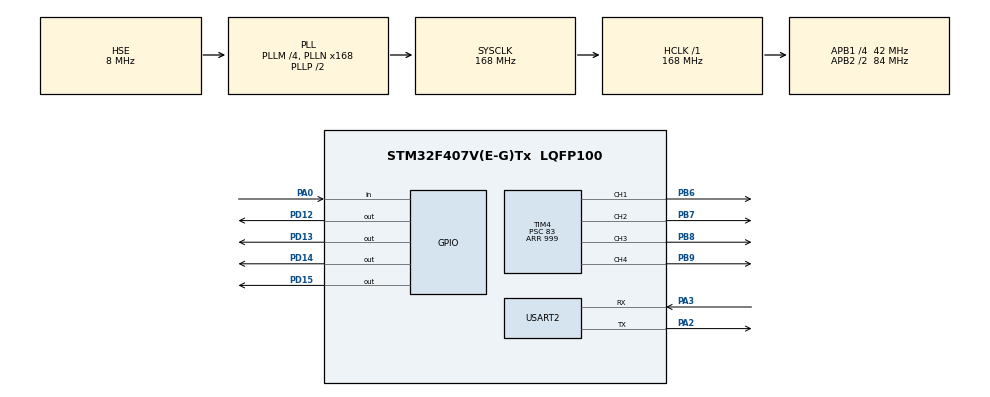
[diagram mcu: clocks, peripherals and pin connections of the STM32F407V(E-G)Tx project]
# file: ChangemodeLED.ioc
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Mcu.Family=STM32F4
Mcu.Name=STM32F407V(E-G)Tx
Mcu.Package=LQFP100
NVIC.PriorityGroup=NVIC_PRIORITYGROUP_4
NVIC.TIM6_DAC_IRQn=true\:0\:0\:false\:false\:true\:true\:true\:true
NVIC.USART2_IRQn=true\:0\:0\:false\:false\:true\:true\:true\:true
PA0-WKUP.Signal=GPIO_Input
PA13.Mode=Serial_Wire
PA13.Signal=SYS_JTMS-SWDIO
PA14.Mode=Serial_Wire
PA14.Signal=SYS_JTCK-SWCLK
PA2.Mode=Asynchronous
PA2.Signal=USART2_TX
PA3.Mode=Asynchronous
PA3.Signal=USART2_RX
PB6.Signal=S_TIM4_CH1
PB7.Signal=S_TIM4_CH2
PB8.Signal=S_TIM4_CH3
PB9.Signal=S_TIM4_CH4
PD12.Signal=GPIO_Output
PD13.Signal=GPIO_Output
PD14.Signal=GPIO_Output
PD15.Signal=GPIO_Output
PH0-OSC_IN.Mode=HSE-External-Oscillator
PH0-OSC_IN.Signal=RCC_OSC_IN
PH1-OSC_OUT.Mode=HSE-External-Oscillator
PH1-OSC_OUT.Signal=RCC_OSC_OUT
ProjectManager.HeapSize=0x200
ProjectManager.StackSize=0x400
ProjectManager.TargetToolchain=MDK-ARM V5.32
RCC.48MHZClocksFreq_Value=84000000
RCC.AHBFreq_Value=168000000
RCC.APB1CLKDivider=RCC_HCLK_DIV4
RCC.APB1Freq_Value=42000000
RCC.APB1TimFreq_Value=84000000
RCC.APB2CLKDivider=RCC_HCLK_DIV2
RCC.APB2Freq_Value=84000000
RCC.APB2TimFreq_Value=168000000
RCC.CortexFreq_Value=168000000
RCC.HCLKFreq_Value=168000000
RCC.HSE_VALUE=8000000
RCC.HSI_VALUE=16000000
RCC.LSE_VALUE=32768
RCC.PLLM=4
RCC.PLLN=168
RCC.PLLSourceVirtual=RCC_PLLSOURCE_HSE
RCC.SYSCLKFreq_VALUE=168000000
RCC.SYSCLKSource=RCC_SYSCLKSOURCE_PLLCLK
RCC.VCOOutputFreq_Value=336000000
SH.S_TIM4_CH1.0=TIM4_CH1,PWM Generation1 CH1
SH.S_TIM4_CH2.0=TIM4_CH2,PWM Generation2 CH2
SH.S_TIM4_CH3.0=TIM4_CH3,PWM Generation3 CH3
SH.S_TIM4_CH4.0=TIM4_CH4,PWM Generation4 CH4
TIM4.Channel-PWM\ Generation1\ CH1=TIM_CHANNEL_1
TIM4.Channel-PWM\ Generation2\ CH2=TIM_CHANNEL_2
TIM4.Channel-PWM\ Generation3\ CH3=TIM_CHANNEL_3
TIM4.Channel-PWM\ Generation4\ CH4=TIM_CHANNEL_4
TIM4.Period=999
TIM4.Prescaler=83
TIM6.Period=7500
TIM6.Prescaler=8399
USART2.VirtualMode=VM_ASYNC
VP_TIM6_VS_ClockSourceINT.Mode=Enable_Timer
board=custom

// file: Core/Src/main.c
/* USER CODE BEGIN Header */
/**
  ******************************************************************************
  * @file           : main.c
  * @brief          : Main program body
  ******************************************************************************
  * @attention
  *
  * Copyright (c) 2026 STMicroelectronics.
  * All rights reserved.
  *
  * This software is licensed under terms that can be found in the LICENSE file
  * in the root directory of this software component.
  * If no LICENSE file comes with this software, it is provided AS-IS.
  *
  ******************************************************************************
  */
/* USER CODE END Header */
#include "main.h"

TIM_HandleTypeDef htim4;
TIM_HandleTypeDef htim6;

UART_HandleTypeDef huart2;

/* USER CODE BEGIN PV */
typedef enum {
	mode_pwm,
	mode_timer_blink
} LedMode;

volatile LedMode current_mode = mode_pwm;
uint32_t pwm_val = 0;
int8_t pwm_dir = 1;
uint8_t rx_byte = 0;

/* USER CODE END PV */

void SystemClock_Config(void);
static void MX_GPIO_Init(void);
static void MX_TIM4_Init(void);
static void MX_TIM6_Init(void);
static void MX_USART2_UART_Init(void);

/* USER CODE BEGIN 0 */
void Set_LED_Mode_PWM(void)
{
	  GPIO_InitTypeDef GPIO_InitStruct = {0};
    GPIO_InitStruct.Pin = GPIO_PIN_12|GPIO_PIN_13|GPIO_PIN_14|GPIO_PIN_15;
    GPIO_InitStruct.Mode = GPIO_MODE_AF_PP;
    GPIO_InitStruct.Pull = GPIO_NOPULL;
    GPIO_InitStruct.Speed = GPIO_SPEED_FREQ_LOW;
    GPIO_InitStruct.Alternate = GPIO_AF2_TIM4;
    HAL_GPIO_Init(GPIOD, &GPIO_InitStruct);

    HAL_TIM_PWM_Start(&htim4, TIM_CHANNEL_1);
		HAL_TIM_PWM_Start(&htim4, TIM_CHANNEL_2);
		HAL_TIM_PWM_Start(&htim4, TIM_CHANNEL_3);
		HAL_TIM_PWM_Start(&htim4, TIM_CHANNEL_4);
}
void Set_LED_Mode_GPIO(void)
{
    HAL_TIM_PWM_Stop(&htim4, TIM_CHANNEL_1|TIM_CHANNEL_2|TIM_CHANNEL_3|TIM_CHANNEL_4);

    GPIO_InitTypeDef GPIO_InitStruct = {0};
    GPIO_InitStruct.Pin = GPIO_PIN_12|GPIO_PIN_13|GPIO_PIN_14|GPIO_PIN_15;
    GPIO_InitStruct.Mode = GPIO_MODE_OUTPUT_PP;
    GPIO_InitStruct.Pull = GPIO_NOPULL;
    GPIO_InitStruct.Speed = GPIO_SPEED_FREQ_LOW;
    HAL_GPIO_Init(GPIOD, &GPIO_InitStruct);
}
/* USER CODE END 0 */

int main(void)
{

  /* MCU Configuration--------------------------------------------------------*/

  /* Reset of all peripherals, Initializes the Flash interface and the Systick. */
  HAL_Init();

  /* Configure the system clock */
  SystemClock_Config();

  /* Initialize all configured peripherals */
  MX_GPIO_Init();
  MX_TIM4_Init();
  MX_TIM6_Init();
  MX_USART2_UART_Init();
  /* USER CODE BEGIN 2 */
HAL_TIM_Base_Start_IT(&htim6);
Set_LED_Mode_PWM();
uint8_t last_btn_state = GPIO_PIN_RESET;
HAL_UART_Receive_IT(&huart2,&rx_byte,1);
  /* USER CODE END 2 */

  /* Infinite loop */
  /* USER CODE BEGIN WHILE */
  while (1)
  {

    uint8_t btn_state = HAL_GPIO_ReadPin(GPIOA, GPIO_PIN_0);
    if (btn_state == GPIO_PIN_SET && last_btn_state == GPIO_PIN_RESET)
    {
        HAL_Delay(50);
        if (HAL_GPIO_ReadPin(GPIOA, GPIO_PIN_0) == GPIO_PIN_SET)
        {
            if (current_mode == mode_pwm)
            {
                current_mode = mode_timer_blink;
                Set_LED_Mode_GPIO();
            }
            else
            {
                current_mode = mode_pwm;
                Set_LED_Mode_PWM();
            }
        }
    }
    last_btn_state = btn_state;

    if (current_mode == mode_pwm)
    {
        pwm_val += (pwm_dir * 15);

        if (pwm_val >= 999) {
            pwm_val = 999;
            pwm_dir = -1;
        }
        else if (pwm_val <= 0) {
            pwm_val = 0;
            pwm_dir = 1;
        }

        __HAL_TIM_SET_COMPARE(&htim4, TIM_CHANNEL_1, pwm_val);
        __HAL_TIM_SET_COMPARE(&htim4, TIM_CHANNEL_2, pwm_val);
        __HAL_TIM_SET_COMPARE(&htim4, TIM_CHANNEL_3, pwm_val);
        __HAL_TIM_SET_COMPARE(&htim4, TIM_CHANNEL_4, pwm_val);

        HAL_Delay(15);
    }
    /* USER CODE END WHILE */

    /* USER CODE BEGIN 3 */
    /* USER CODE BEGIN 3 */
  }
  /* USER CODE END 3 */
}

void SystemClock_Config(void)
{
  RCC_OscInitTypeDef RCC_OscInitStruct = {0};
  RCC_ClkInitTypeDef RCC_ClkInitStruct = {0};

  /** Configure the main internal regulator output voltage
  */
  __HAL_RCC_PWR_CLK_ENABLE();
  __HAL_PWR_VOLTAGESCALING_CONFIG(PWR_REGULATOR_VOLTAGE_SCALE1);

  /** Initializes the RCC Oscillators according to the specified parameters
  * in the RCC_OscInitTypeDef structure.
  */
  RCC_OscInitStruct.OscillatorType = RCC_OSCILLATORTYPE_HSE;
  RCC_OscInitStruct.HSEState = RCC_HSE_ON;
  RCC_OscInitStruct.PLL.PLLState = RCC_PLL_ON;
  RCC_OscInitStruct.PLL.PLLSource = RCC_PLLSOURCE_HSE;
  RCC_OscInitStruct.PLL.PLLM = 4;
  RCC_OscInitStruct.PLL.PLLN = 168;
  RCC_OscInitStruct.PLL.PLLP = RCC_PLLP_DIV2;
  RCC_OscInitStruct.PLL.PLLQ = 4;
  if (HAL_RCC_OscConfig(&RCC_OscInitStruct) != HAL_OK)
  {
    Error_Handler();
  }

  /** Initializes the CPU, AHB and APB buses clocks
  */
  RCC_ClkInitStruct.ClockType = RCC_CLOCKTYPE_HCLK|RCC_CLOCKTYPE_SYSCLK
                              |RCC_CLOCKTYPE_PCLK1|RCC_CLOCKTYPE_PCLK2;
  RCC_ClkInitStruct.SYSCLKSource = RCC_SYSCLKSOURCE_PLLCLK;
  RCC_ClkInitStruct.AHBCLKDivider = RCC_SYSCLK_DIV1;
  RCC_ClkInitStruct.APB1CLKDivider = RCC_HCLK_DIV4;
  RCC_ClkInitStruct.APB2CLKDivider = RCC_HCLK_DIV2;

  if (HAL_RCC_ClockConfig(&RCC_ClkInitStruct, FLASH_LATENCY_5) != HAL_OK)
  {
    Error_Handler();
  }
}

static void MX_TIM4_Init(void)
{

  TIM_MasterConfigTypeDef sMasterConfig = {0};
  TIM_OC_InitTypeDef sConfigOC = {0};

  htim4.Instance = TIM4;
  htim4.Init.Prescaler = 83;
  htim4.Init.CounterMode = TIM_COUNTERMODE_UP;
  htim4.Init.Period = 999;
  htim4.Init.ClockDivision = TIM_CLOCKDIVISION_DIV1;
  htim4.Init.AutoReloadPreload = TIM_AUTORELOAD_PRELOAD_DISABLE;
  if (HAL_TIM_PWM_Init(&htim4) != HAL_OK)
  {
    Error_Handler();
  }
  sMasterConfig.MasterOutputTrigger = TIM_TRGO_RESET;
  sMasterConfig.MasterSlaveMode = TIM_MASTERSLAVEMODE_DISABLE;
  if (HAL_TIMEx_MasterConfigSynchronization(&htim4, &sMasterConfig) != HAL_OK)
  {
    Error_Handler();
  }
  sConfigOC.OCMode = TIM_OCMODE_PWM1;
  sConfigOC.Pulse = 0;
  sConfigOC.OCPolarity = TIM_OCPOLARITY_HIGH;
  sConfigOC.OCFastMode = TIM_OCFAST_DISABLE;
  if (HAL_TIM_PWM_ConfigChannel(&htim4, &sConfigOC, TIM_CHANNEL_1) != HAL_OK)
  {
    Error_Handler();
  }
  if (HAL_TIM_PWM_ConfigChannel(&htim4, &sConfigOC, TIM_CHANNEL_2) != HAL_OK)
  {
    Error_Handler();
  }
  if (HAL_TIM_PWM_ConfigChannel(&htim4, &sConfigOC, TIM_CHANNEL_3) != HAL_OK)
  {
    Error_Handler();
  }
  if (HAL_TIM_PWM_ConfigChannel(&htim4, &sConfigOC, TIM_CHANNEL_4) != HAL_OK)
  {
    Error_Handler();
  }
  HAL_TIM_MspPostInit(&htim4);

}

static void MX_TIM6_Init(void)
{

  TIM_MasterConfigTypeDef sMasterConfig = {0};

  htim6.Instance = TIM6;
  htim6.Init.Prescaler = 8399;
  htim6.Init.CounterMode = TIM_COUNTERMODE_UP;
  htim6.Init.Period = 7500;
  htim6.Init.AutoReloadPreload = TIM_AUTORELOAD_PRELOAD_DISABLE;
  if (HAL_TIM_Base_Init(&htim6) != HAL_OK)
  {
    Error_Handler();
  }
  sMasterConfig.MasterOutputTrigger = TIM_TRGO_RESET;
  sMasterConfig.MasterSlaveMode = TIM_MASTERSLAVEMODE_DISABLE;
  if (HAL_TIMEx_MasterConfigSynchronization(&htim6, &sMasterConfig) != HAL_OK)
  {
    Error_Handler();
  }

}

static void MX_USART2_UART_Init(void)
{

  huart2.Instance = USART2;
  huart2.Init.BaudRate = 115200;
  huart2.Init.WordLength = UART_WORDLENGTH_8B;
  huart2.Init.StopBits = UART_STOPBITS_1;
  huart2.Init.Parity = UART_PARITY_NONE;
  huart2.Init.Mode = UART_MODE_TX_RX;
  huart2.Init.HwFlowCtl = UART_HWCONTROL_NONE;
  huart2.Init.OverSampling = UART_OVERSAMPLING_16;
  if (HAL_UART_Init(&huart2) != HAL_OK)
  {
    Error_Handler();
  }

}

static void MX_GPIO_Init(void)
{
  GPIO_InitTypeDef GPIO_InitStruct = {0};

  /* GPIO Ports Clock Enable */
  __HAL_RCC_GPIOH_CLK_ENABLE();
  __HAL_RCC_GPIOA_CLK_ENABLE();
  __HAL_RCC_GPIOD_CLK_ENABLE();
  __HAL_RCC_GPIOB_CLK_ENABLE();

  /*Configure GPIO pin Output Level */
  HAL_GPIO_WritePin(GPIOD, GPIO_PIN_12|GPIO_PIN_13|GPIO_PIN_14|GPIO_PIN_15, GPIO_PIN_RESET);

  /*Configure GPIO pin : PA0 */
  GPIO_InitStruct.Pin = GPIO_PIN_0;
  GPIO_InitStruct.Mode = GPIO_MODE_INPUT;
  GPIO_InitStruct.Pull = GPIO_NOPULL;
  HAL_GPIO_Init(GPIOA, &GPIO_InitStruct);

  /*Configure GPIO pins : PD12 PD13 PD14 PD15 */
  GPIO_InitStruct.Pin = GPIO_PIN_12|GPIO_PIN_13|GPIO_PIN_14|GPIO_PIN_15;
  GPIO_InitStruct.Mode = GPIO_MODE_OUTPUT_PP;
  GPIO_InitStruct.Pull = GPIO_NOPULL;
  GPIO_InitStruct.Speed = GPIO_SPEED_FREQ_LOW;
  HAL_GPIO_Init(GPIOD, &GPIO_InitStruct);

}

/* USER CODE BEGIN 4 */
void HAL_TIM_PeriodElapsedCallback(TIM_HandleTypeDef *htim)
{
    if (htim->Instance == TIM6)
    {

        if (current_mode == mode_timer_blink)
        {
            HAL_GPIO_TogglePin(GPIOD, GPIO_PIN_12|GPIO_PIN_13|GPIO_PIN_14|GPIO_PIN_15);
        }
    }
}
void HAL_UART_RxCpltCallback(UART_HandleTypeDef *huart)
{
    if (huart->Instance == USART2)
    {
        if (rx_byte == '1')
        {
            current_mode = mode_pwm;
            Set_LED_Mode_PWM();
        }
        else if (rx_byte == '2')
        {
            current_mode = mode_timer_blink;
            Set_LED_Mode_GPIO();
        }

        HAL_UART_Receive_IT(&huart2, &rx_byte, 1);
    }
}
/* USER CODE END 4 */

void Error_Handler(void)
{
  __disable_irq();
  while (1)
  {
  }
}
